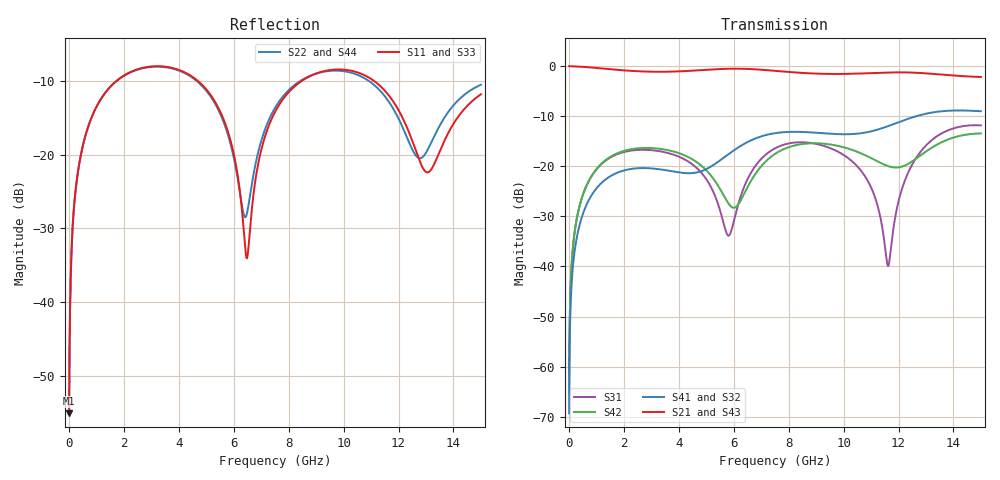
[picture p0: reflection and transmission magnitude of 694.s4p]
! Created with skrf 1.8.0 (http://scikit-rf.org).
# GHz S RI R 50.0
!freq ReS11 ImS11 ReS12 ImS12 ReS13 ImS13
! ReS14 ImS14
! ReS21 ImS21 ReS22 ImS22 ReS23 ImS23
! ReS24 ImS24
! ReS31 ImS31 ReS32 ImS32 ReS33 ImS33
! ReS34 ImS34
! ReS41 ImS41 ReS42 ImS42 ReS43 ImS43
! ReS44 ImS44
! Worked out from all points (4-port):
!   2499 points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, 5 MHz to 15 GHz, reference 50 ohm
!   strongest paths, dB at 5 MHz, 3.476 GHz, 7.19 GHz, 11.1 GHz, 15 GHz:
!     S21: 0.0, -1.1, -0.8, -1.4, -2.2
!     S43: 0.0, -1.1, -0.8, -1.4, -2.2
!     S41: -69.3, -20.7, -13.7, -12.9, -9.0
!     S32: -69.3, -20.8, -13.8, -12.9, -9.1
!     S42: -65.4, -16.6, -18.9, -18.6, -13.4
!     S31: -65.4, -17.2, -17.6, -25.5, -11.8
!   lowest |S11| = -55.1 dB at 5 MHz (marker M1), VSWR 1.00, Z = 50.1 + j0.107 ohm
!   |S11| at or under -10 dB: start of sweep to 1.728 GHz; 4.693 GHz to 8.476 GHz (3.782 GHz wide, 57.4 % of centre); 11.11 GHz to end of sweep
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0.005  0.0014 0.00106  0.9986 -0.00272  6.85e-05 0.00053  -6.68e-05 -0.000336
       0.9986 -0.00272  0.0014 0.00106  -6.68e-05 -0.000336  6.87e-05 0.00053
       6.85e-05 0.00053  -6.68e-05 -0.000336  0.0014 0.00106  0.9986 -0.00272
       -6.68e-05 -0.000336  6.87e-05 0.00053  0.9986 -0.00272  0.0014 0.00106
0.3126303  0.0184 0.0709  0.9751 -0.1701  0.00761 0.032  -0.00661 -0.0202
           0.9751 -0.1701  0.0183 0.0709  -0.0066 -0.0202  0.00815 0.0319
           0.00761 0.032  -0.0066 -0.0202  0.0184 0.0709  0.9751 -0.1701
           -0.00661 -0.0202  0.00815 0.0319  0.9751 -0.1701  0.0183 0.0709
1.569404  0.227 0.1918  0.641 -0.6708  0.1017 0.0728  -0.0789 -0.0202
          0.641 -0.6708  0.2247 0.193  -0.0787 -0.0203  0.1099 0.0641
          0.1017 0.0728  -0.0787 -0.0203  0.2271 0.1918  0.6409 -0.6708
          -0.0789 -0.0202  0.1099 0.0641  0.6409 -0.6708  0.2246 0.1931
6.446436  0.0195 -0.00706  -0.9369 -0.0536  0.0314 0.0614  -0.00325 0.1713
          -0.9369 -0.0536  0.0378 0.00447  -0.00772 0.1711  -0.0232 0.053
          0.0314 0.0614  -0.00772 0.1711  0.0187 -0.0077  -0.9368 -0.0536
          -0.00325 0.1713  -0.0232 0.053  -0.9368 -0.0536  0.0389 0.00344
9.854106  0.3782 -0.0137  -0.0343 0.8342  0.1245 -0.0574  0.2024 -0.0527
          -0.0343 0.8342  0.3702 -0.0161  0.2021 -0.0437  0.1216 -0.1016
          0.1245 -0.0574  0.2021 -0.0437  0.38 -0.0153  -0.0335 0.834
          0.2024 -0.0527  0.1216 -0.1016  -0.0335 0.834  0.3694 -0.0148
11.62359  0.1928 -0.1676  0.6094 0.6123  -0.0093 -0.00395  0.1696 -0.1862
          0.6094 0.6123  0.1852 -0.1397  0.1791 -0.177  -0.0714 -0.0705
          -0.0093 -0.00395  0.1791 -0.177  0.1926 -0.1699  0.6097 0.6114
          0.1696 -0.1862  -0.0714 -0.0705  0.6097 0.6114  0.1881 -0.1391
15  0.2395 0.0918  0.5256 -0.5748  0.2528 0.0387  -0.3131 -0.1656
    0.5256 -0.5748  0.2876 0.078  -0.2998 -0.1803  0.2038 0.0609
    0.2528 0.0387  -0.2998 -0.1803  0.2466 0.09  0.524 -0.5764
    -0.3131 -0.1656  0.2038 0.0609  0.524 -0.5764  0.2813 0.0766
